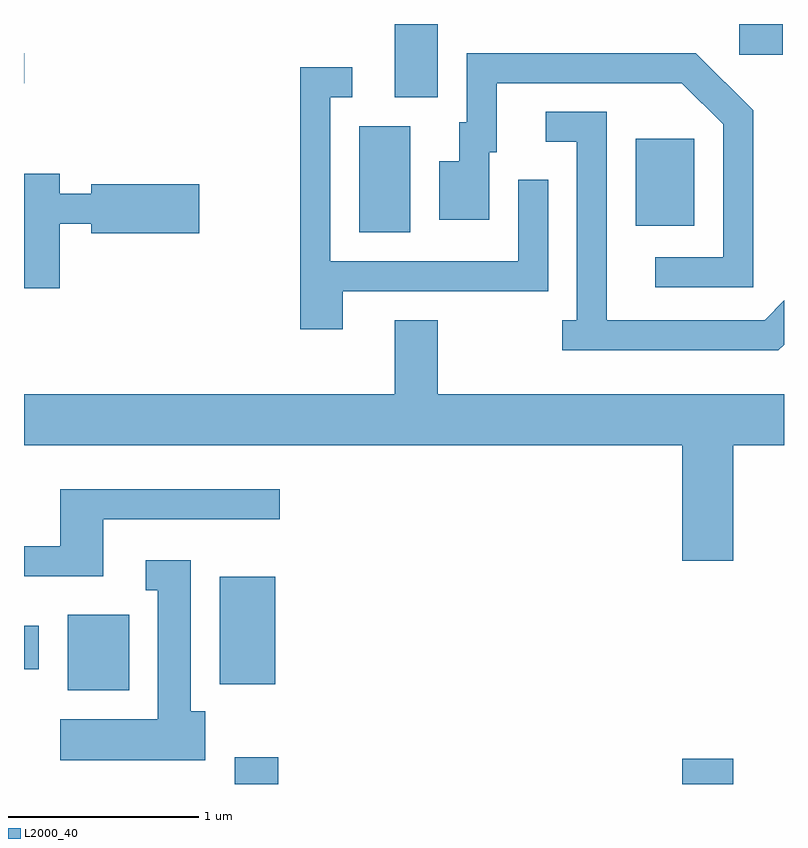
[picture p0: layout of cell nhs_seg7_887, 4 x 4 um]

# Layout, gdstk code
import gdstk
lib = gdstk.Library(unit=1e-6, precision=1e-09)
def R(c, l, rs):  # rectangles x0, y0, x1, y1
    for r in rs: c.add(gdstk.rectangle(r[:2], r[2:], *l))
def P(c, l, *ps):  # polygons
    for p in ps: c.add(gdstk.Polygon(p, *l))
L2000_40 = (2000, 40)

nhs_seg7_887 = lib.new_cell('nhs_seg7_887')
R(nhs_seg7_887, L2000_40, [(212.721,1770.252,212.949,1770.394), (215.076,1770.252,215.344,1770.384), (211.841,1770.746,212.164,1771.144), (212.641,1770.776,212.934,1771.344), (211.611,1770.856,211.689,1771.084), (213.376,1773.156,213.644,1773.714), (214.831,1773.191,215.139,1773.649), (213.561,1773.866,213.789,1774.252), (211.611,1773.941,211.613,1774.099), (215.376,1774.091,215.604,1774.252)])
P(nhs_seg7_887, L2000_40, [(215.449,1773.797),(215.147,1774.099),(213.941,1774.099),(213.941,1773.734),(213.901,1773.734),(213.901,1773.529),(213.796,1773.529),(213.796,1773.221),(214.059,1773.221),(214.059,1773.576),(214.099,1773.576),(214.099,1773.941),(215.074,1773.941),(215.291,1773.724),(215.291,1773.024),(214.933,1773.024),(214.933,1772.866),(215.449,1772.866)],
  [(213.289,1772.846),(214.369,1772.846),(214.369,1773.433),(214.211,1773.433),(214.211,1773.004),(213.224,1773.004),(213.224,1773.866),(213.338,1773.866),(213.338,1774.024),(213.066,1774.024),(213.066,1772.646),(213.289,1772.646)],
  [(215.611,1772.565),(215.611,1772.797),(215.509,1772.694),(214.679,1772.694),(214.679,1773.789),(214.358,1773.789),(214.358,1773.631),(214.521,1773.631),(214.521,1772.694),(214.443,1772.694),(214.443,1772.536),(215.582,1772.536)],
  [(211.799,1773.201),(211.966,1773.201),(211.966,1773.151),(212.534,1773.151),(212.534,1773.409),(211.966,1773.409),(211.966,1773.359),(211.799,1773.359),(211.799,1773.464),(211.611,1773.464),(211.611,1772.861),(211.799,1772.861)],
  [(215.344,1772.036),(215.611,1772.036),(215.611,1772.304),(213.789,1772.304),(213.789,1772.694),(213.561,1772.694),(213.561,1772.304),(211.611,1772.304),(211.611,1772.036),(215.076,1772.036),(215.076,1771.426),(215.344,1771.426)],
  [(212.029,1771.646),(212.958,1771.646),(212.958,1771.804),(211.801,1771.804),(211.801,1771.504),(211.611,1771.504),(211.611,1771.346),(212.029,1771.346)],
  [(212.564,1770.634),(212.489,1770.634),(212.489,1771.429),(212.253,1771.429),(212.253,1771.271),(212.316,1771.271),(212.316,1770.594),(211.801,1770.594),(211.801,1770.376),(212.564,1770.376)])

lib.write_gds('nhs_seg7_887.gds')
